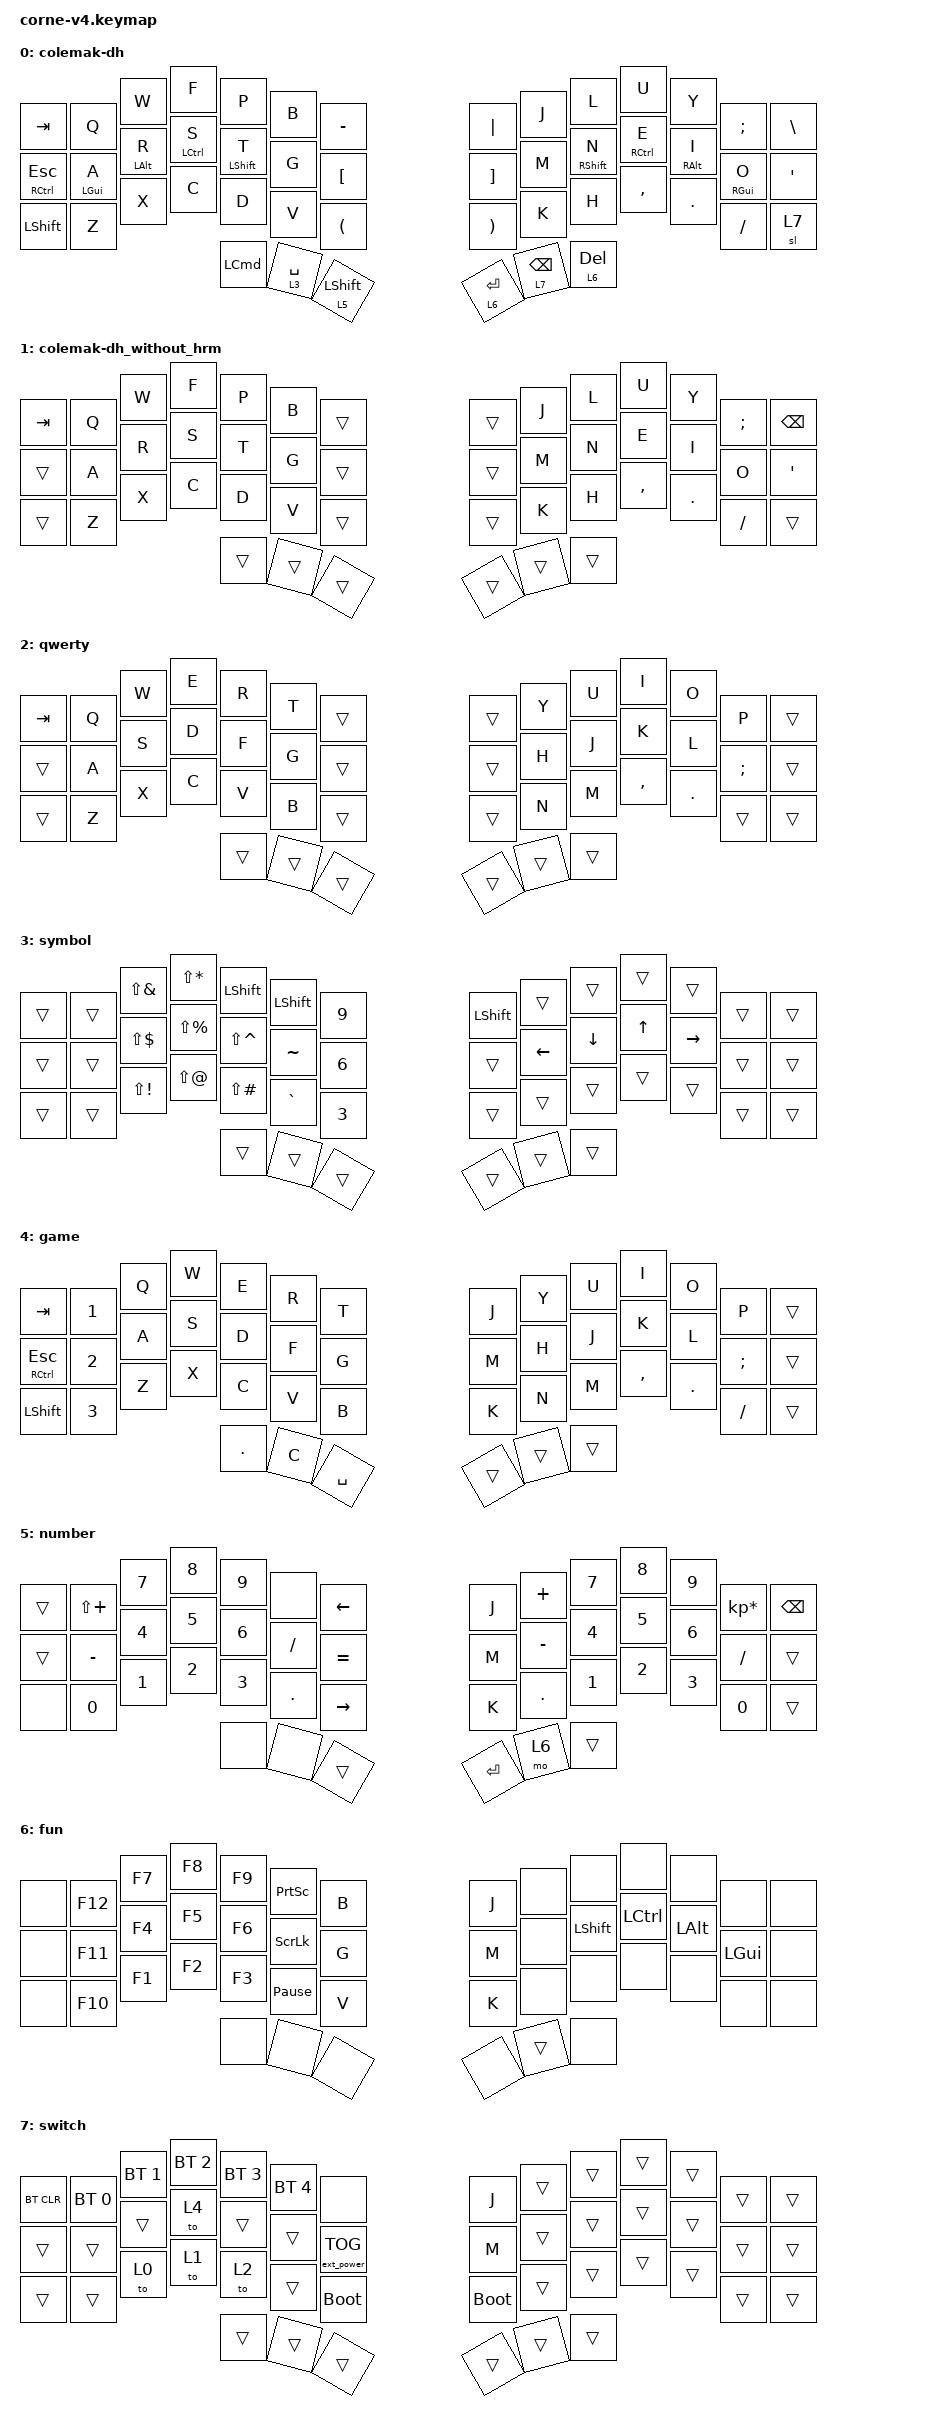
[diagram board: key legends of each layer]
#ifndef ZMK_BEHAVIORS_KEEP_ALL
#define ZMK_BEHAVIORS_KEEP_ALL
#endif
#define ZMK_MOUSE_DEFAULT_MOVE_VAL 1500  // 600
#define ZMK_MOUSE_DEFAULT_SCRL_VAL 20    // 10

#include <behaviors.dtsi>
#include <dt-bindings/zmk/bt.h>
#include <dt-bindings/zmk/ext_power.h>
#include <dt-bindings/zmk/keys.h>

/ {
    combos {
        compatible = "zmk,combos";

        bracket {
            bindings = <&kp LEFT_PARENTHESIS>;
            key-positions = <19 20>;
        };

        bracket_r {
            bindings = <&kp RIGHT_PARENTHESIS>;
            key-positions = <21 20>;
        };

        lb {
            bindings = <&kp LEFT_BRACKET>;
            key-positions = <31 32>;
        };

        rb {
            bindings = <&kp RIGHT_BRACKET>;
            key-positions = <32 33>;
        };

        lf {
            bindings = <&kp LEFT_BRACE>;
            key-positions = <31 32>;
        };

        rba {
            bindings = <&kp RIGHT_BRACE>;
            key-positions = <32 33>;
        };

        plus {
            bindings = <&kp PLUS>;
            key-positions = <16 17>;
        };

        minus {
            bindings = <&kp MINUS>;
            key-positions = <19 18>;
        };

        caret {
            bindings = <&kp CARET>;
            key-positions = <7 8>;
        };

        underscore {
            bindings = <&kp UNDERSCORE>;
            key-positions = <30 31>;
        };

        multiplu {
            bindings = <&kp KP_ASTERISK>;
            key-positions = <9 10>;
        };

        pipe {
            bindings = <&kp PIPE>;
            key-positions = <21 22>;
        };

        and {
            bindings = <&kp AMPERSAND>;
            key-positions = <9 8>;
        };

        at {
            bindings = <&kp AT>;
            key-positions = <2 3>;
        };

        tick {
            bindings = <&kp GRAVE>;
            key-positions = <0 1>;
        };

        enter {
            bindings = <&kp ENTER>;
            key-positions = <37 38>;
        };

        hash {
            bindings = <&kp HASH>;
            key-positions = <3 4>;
        };

        dollar {
            bindings = <&kp TILDE>;
            key-positions = <4 5>;
        };

        equal {
            bindings = <&kp EQUAL>;
            key-positions = <28 29>;
        };

        percent {
            bindings = <&kp PERCENT>;
            key-positions = <6 7>;
        };

        tilde {
            bindings = <&kp DOLLAR>;
            key-positions = <15 16>;
        };

        exam {
            bindings = <&kp EXCL>;
            key-positions = <1 2>;
        };

        switch-left {
            bindings = <&mo 7>;
            key-positions = <43 44>;
        };

        switch-right {
            bindings = <&mo 7>;
            key-positions = <45 46>;
        };
    };

    macros {
        love: love {
            compatible = "zmk,behavior-macro";
            #binding-cells = <0>;
            bindings = <&none &kp X &kp I &kp A &kp O &kp SPACE &kp Y &kp A &kp N &kp G &kp COMMA &kp SPACE &kp LS(I) &kp SPACE &kp L &kp O &kp V &kp E &kp SPACE &kp Y &kp O &kp U &kp COMMA &kp SPACE &kp F &kp O &kp R &kp SPACE &kp E &kp V &kp E &kp R &kp Y &kp SPACE &kp T &kp H &kp I &kp N &kp G &kp SPACE &kp W &kp E &kp SPACE &kp H &kp A &kp V &kp E &kp SPACE &kp B &kp E &kp E &kp N &kp SPACE &kp T &kp H &kp R &kp O &kp U &kp G &kp H &kp COMMA &kp SPACE &kp LS(I) &kp SPACE &kp A &kp M &kp SPACE &kp R &kp O &kp O &kp T &kp I &kp N &kp G &kp SPACE &kp F &kp O &kp R &kp SPACE &kp Y &kp O &kp U>;
        };
    };

    behaviors {
        hml: homewrow_mods_left {
            compatible = "zmk,behavior-hold-tap";
            bindings = <&kp>, <&kp>;

            #binding-cells = <2>;
            hold-trigger-key-positions = <6 7 9 8 10 11 23 22 35 34 33 21 20 19 18 30 31 32 41 40 39>;
            tapping-term-ms = <300>;
            flavor = "balanced";
            quick-tap-ms = <175>;
            require-prior-idle-ms = <250>;
            hold-trigger-on-release;
        };

        hmr: hmr {
            compatible = "zmk,behavior-hold-tap";
            bindings = <&kp>, <&kp>;

            #binding-cells = <2>;
            tapping-term-ms = <300>;
            hold-trigger-key-positions = <0 1 2 3 4 5 12 13 14 15 16 17 24 25 26 27 28 29 36 37 38>;
            flavor = "balanced";
            quick-tap-ms = <175>;
            require-prior-idle-ms = <250>;
            hold-trigger-on-release;
        };
    };

    keymap {
        compatible = "zmk,keymap";

        colemak-dh {
            bindings = <
&kp TAB           &kp Q            &kp W            &kp F         &kp P              &kp B        &kp MINUS              &kp PIPE               &kp J            &kp L               &kp U                 &kp Y             &kp SEMI     &kp BACKSLASH
&mt RCTRL ESCAPE  &hml LEFT_GUI A  &hml LEFT_ALT R  &hml LCTRL S  &hml LEFT_SHIFT T  &kp G        &kp LEFT_BRACKET        &kp RIGHT_BRACKET      &kp M            &hmr RIGHT_SHIFT N  &hmr RIGHT_CONTROL E  &hmr RIGHT_ALT I  &hmr RGUI O  &kp APOS
&kp LSHFT         &kp Z            &kp X            &kp C         &kp D              &kp V        &kp LEFT_PARENTHESIS    &kp RIGHT_PARENTHESIS  &kp K            &kp H               &kp COMMA             &kp DOT           &kp FSLH     &sl 7
                                                                  &kp LCMD           &lt 3 SPACE  &lt 5 LEFT_SHIFT        &lt 6 ENTER            &lt 7 BACKSPACE  &lt 6 DELETE
            >;
        };

        colemak-dh_without_hrm {
            bindings = <
&kp TAB  &kp Q  &kp W  &kp F  &kp P   &kp B   &trans    &trans  &kp J   &kp L   &kp U      &kp Y    &kp SEMI  &kp BSPC
&trans   &kp A  &kp R  &kp S  &kp T   &kp G   &trans    &trans  &kp M   &kp N   &kp E      &kp I    &kp O     &kp APOS
&trans   &kp Z  &kp X  &kp C  &kp D   &kp V   &trans    &trans  &kp K   &kp H   &kp COMMA  &kp DOT  &kp FSLH  &trans
                              &trans  &trans  &trans    &trans  &trans  &trans
            >;
        };

        qwerty {
            bindings = <
&kp TAB  &kp Q  &kp W  &kp E  &kp R   &kp T   &trans    &trans  &kp Y   &kp U   &kp I      &kp O    &kp P     &trans
&trans   &kp A  &kp S  &kp D  &kp F   &kp G   &trans    &trans  &kp H   &kp J   &kp K      &kp L    &kp SEMI  &trans
&trans   &kp Z  &kp X  &kp C  &kp V   &kp B   &trans    &trans  &kp N   &kp M   &kp COMMA  &kp DOT  &trans    &trans
                              &trans  &trans  &trans    &trans  &trans  &trans
            >;
        };

        symbol {
            bindings = <
&trans  &trans  &kp LS(AMPS)  &kp LS(STAR)   &kp LSHFT      &kp LSHFT  &kp N9    &kp LSHFT  &trans    &trans    &trans  &trans     &trans  &trans
&trans  &trans  &kp LS(DLLR)  &kp LS(PRCNT)  &kp LS(CARET)  &kp TILDE  &kp N6    &trans     &kp LEFT  &kp DOWN  &kp UP  &kp RIGHT  &trans  &trans
&trans  &trans  &kp LS(EXCL)  &kp LS(AT)     &kp LS(POUND)  &kp GRAVE  &kp N3    &trans     &trans    &trans    &trans  &trans     &trans  &trans
                                             &trans         &trans     &trans    &trans     &trans    &trans
            >;
        };

        game {
            bindings = <
&kp TAB           &kp N1  &kp Q  &kp W  &kp E    &kp R  &kp T        &kp J   &kp Y   &kp U   &kp I      &kp O    &kp P     &trans
&mt RCTRL ESCAPE  &kp N2  &kp A  &kp S  &kp D    &kp F  &kp G        &kp M   &kp H   &kp J   &kp K      &kp L    &kp SEMI  &trans
&kp LSHFT         &kp N3  &kp Z  &kp X  &kp C    &kp V  &kp B        &kp K   &kp N   &kp M   &kp COMMA  &kp DOT  &kp FSLH  &trans
                                        &kp DOT  &kp C  &kp SPACE    &trans  &trans  &trans
            >;
        };

        number {
            // -----------------------------------------------------------------------------------------
            // |  TAB |  1  |  2  |  3  |  4  |  5  |   |  6  |  7  |  8  |  9  |  0  | BKSP |
            // | BTCLR| BT1 | BT2 | BT3 | BT4 | BT5 |   | LFT | DWN |  UP | RGT |     |      |
            // | SHFT |     |     |     |     |     |   |     |     |     |     |     |      |
            //                    | GUI |     | SPC |   | ENT |     | ALT |

            bindings = <
&trans  &kp LS(PLUS)  &kp N7  &kp N8  &kp N9  &none     &kp LEFT_ARROW    &kp J    &kp PLUS   &kp N7  &kp N8  &kp N9  &kp KP_MULTIPLY  &kp BSPC
&trans  &kp MINUS     &kp N4  &kp N5  &kp N6  &kp FSLH  &kp EQUAL         &kp M    &kp MINUS  &kp N4  &kp N5  &kp N6  &kp FSLH         &trans
&none   &kp N0        &kp N1  &kp N2  &kp N3  &kp DOT   &kp RIGHT         &kp K    &kp DOT    &kp N1  &kp N2  &kp N3  &kp N0           &trans
                                      &none   &none     &trans            &kp RET  &mo 6      &trans
            >;
        };

        fun {
            bindings = <
&none  &kp F12  &kp F7  &kp F8  &kp F9  &kp PRINTSCREEN  &kp B    &kp J  &none   &none      &none      &none     &none     &none
&none  &kp F11  &kp F4  &kp F5  &kp F6  &kp SCROLLLOCK   &kp G    &kp M  &none   &kp LSHFT  &kp LCTRL  &kp LALT  &kp LGUI  &none
&none  &kp F10  &kp F1  &kp F2  &kp F3  &kp PAUSE_BREAK  &kp V    &kp K  &none   &none      &none      &none     &none     &none
                                &none   &none            &none    &none  &trans  &none
            >;
        };

        switch {
            bindings = <
&bt BT_CLR  &bt BT_SEL 0  &bt BT_SEL 1  &bt BT_SEL 2  &bt BT_SEL 3  &bt BT_SEL 4  &none               &kp J        &trans  &trans  &trans  &trans  &trans  &trans
&trans      &trans        &trans        &to 4         &trans        &trans        &ext_power EP_TOG    &kp M        &trans  &trans  &trans  &trans  &trans  &trans
&trans      &trans        &to 0         &to 1         &to 2         &trans        &bootloader          &bootloader  &trans  &trans  &trans  &trans  &trans  &trans
                                                      &trans        &trans        &trans               &trans       &trans  &trans
            >;

            display-name = "switch";
        };
    };

    conditional_layers {
        compatible = "zmk,conditional-layers";

        switch {
            if-layers = <6 5>;
            then-layer = <7>;
        };
    };

     };
